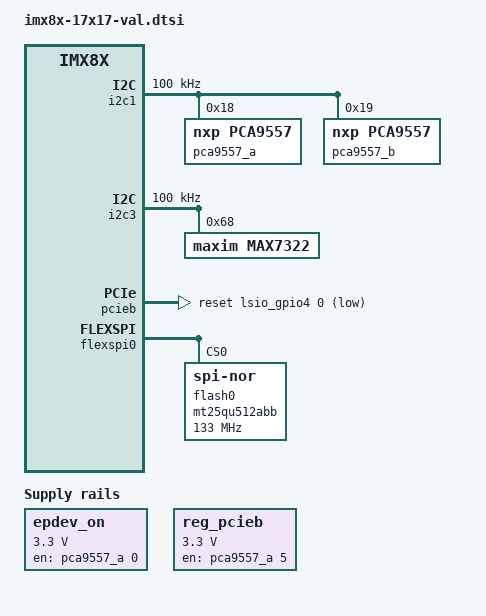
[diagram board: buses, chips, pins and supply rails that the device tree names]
// SPDX-License-Identifier: GPL-2.0+
/*
 * Copyright 2019 NXP
 */

#include "imx8x-val.dtsi"

/ {
	reserved-memory {
		linux,cma {
			compatible = "shared-dma-pool";
			reusable;
			size = <0 0x14000000>;
			alloc-ranges = <0 0xc0000000 0 0x14000000>;
			linux,cma-default;
		};
	};

	epdev_on: fixedregulator-100 {
		compatible = "regulator-fixed";
		regulator-min-microvolt = <3300000>;
		regulator-max-microvolt = <3300000>;
		regulator-name = "epdev_on";
		gpio = <&pca9557_a 0 GPIO_ACTIVE_HIGH>;
		enable-active-high;
	};

	reg_pcieb: regulator-pcie {
		compatible = "regulator-fixed";
		regulator-name = "mpcie_3v3";
		regulator-min-microvolt = <3300000>;
		regulator-max-microvolt = <3300000>;
		gpio = <&pca9557_a 5 GPIO_ACTIVE_HIGH>;
		enable-active-high;
	};
};

&iomuxc {
	imx8qxp-lpddr4-arm2 {
		pinctrl_flexspi0: flexspi0grp {
			fsl,pins = <
				IMX8QXP_QSPI0A_DATA0_LSIO_QSPI0A_DATA0	0x06000021
				IMX8QXP_QSPI0A_DATA1_LSIO_QSPI0A_DATA1	0x06000021
				IMX8QXP_QSPI0A_DATA2_LSIO_QSPI0A_DATA2	0x06000021
				IMX8QXP_QSPI0A_DATA3_LSIO_QSPI0A_DATA3	0x06000021
				IMX8QXP_QSPI0A_SS0_B_LSIO_QSPI0A_SS0_B	0x06000021
				IMX8QXP_QSPI0A_SCLK_LSIO_QSPI0A_SCLK	0x06000021
			>;
		};
	};
};

&i2c1 {
	#address-cells = <1>;
	#size-cells = <0>;
	clock-frequency = <100000>;
	pinctrl-names = "default";
	pinctrl-0 = <&pinctrl_lpi2c1>;
	status = "okay";

	/delete-node/ gpio@68;
	/delete-node/ typec@3d;

	pca9557_a: gpio@18 {
		compatible = "nxp,pca9557";
		reg = <0x18>;
		gpio-controller;
		#gpio-cells = <2>;
	};

	pca9557_b: gpio@19 {
		compatible = "nxp,pca9557";
		reg = <0x19>;
		gpio-controller;
		#gpio-cells = <2>;
	};
};

&i2c2 {
	status = "disabled";
};

&i2c3 {
	#address-cells = <1>;
	#size-cells = <0>;
	clock-frequency = <100000>;
	pinctrl-names = "default";
	pinctrl-0 = <&pinctrl_lpi2c3>;
	status = "okay";

	/delete-node/ gpio@18;
	/delete-node/ gpio@19;

	max7322: gpio@68 {
		compatible = "maxim,max7322";
		reg = <0x68>;
		gpio-controller;
		#gpio-cells = <2>;
	};
};

&i2c_mipi_csi0 {
	status = "disabled";
};

&mipi_csi_0 {
	status = "disabled";
};

&gpio0_mipi_csi0 {
	status = "disabled";
};

&pcieb{
	ext_osc = <1>;
	pinctrl-names = "default";
	pinctrl-0 = <&pinctrl_pcieb>;
	clkreq-gpio = <&lsio_gpio4 1 GPIO_ACTIVE_LOW>;
	reset-gpio = <&lsio_gpio4 0 GPIO_ACTIVE_LOW>;
	epdev_on-supply = <&epdev_on>;
	vpcie-supply = <&reg_pcieb>;
	status = "okay";
};

&usdhc2 {
	status = "disabled";
};

&flexspi0 {
	pinctrl-names = "default";
	pinctrl-0 = <&pinctrl_flexspi0>;
	status = "okay";

	/delete-node/ mt35xu512aba@0;

	flash0: mt25qu512abb@0 {
		reg = <0>;
		#address-cells = <1>;
		#size-cells = <1>;
		compatible = "jedec,spi-nor";
		spi-max-frequency = <133000000>;
		spi-tx-bus-width = <1>;
		spi-rx-bus-width = <8>;
	};
};

&adc0 {
	status = "disabled";
};

&usbotg1 {
	/delete-property/ pinctrl-names;
	/delete-property/ pinctrl-0;
};
